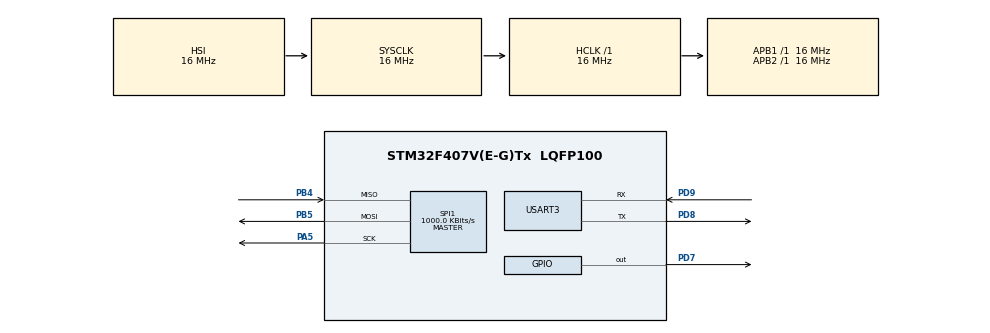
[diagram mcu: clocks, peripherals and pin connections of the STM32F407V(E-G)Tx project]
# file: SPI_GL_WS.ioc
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Mcu.Family=STM32F4
Mcu.Name=STM32F407V(E-G)Tx
Mcu.Package=LQFP100
NVIC.PriorityGroup=NVIC_PRIORITYGROUP_4
NVIC.SPI1_IRQn=true\:0\:0\:false\:false\:true\:true\:true
NVIC.USART3_IRQn=true\:0\:0\:false\:false\:true\:true\:true
PA5.Mode=Full_Duplex_Master
PA5.Signal=SPI1_SCK
PB4.Mode=Full_Duplex_Master
PB4.Signal=SPI1_MISO
PB5.Mode=Full_Duplex_Master
PB5.Signal=SPI1_MOSI
PD7.Signal=GPIO_Output
PD8.Mode=Asynchronous
PD8.Signal=USART3_TX
PD9.Mode=Asynchronous
PD9.Signal=USART3_RX
ProjectManager.HeapSize=0x200
ProjectManager.StackSize=0x400
ProjectManager.TargetToolchain=STM32CubeIDE
RCC.AHBFreq_Value=16000000
RCC.APB1Freq_Value=16000000
RCC.APB2Freq_Value=16000000
RCC.CortexFreq_Value=16000000
RCC.HSE_VALUE=25000000
RCC.HSI_VALUE=16000000
RCC.LSE_VALUE=32768
RCC.SYSCLKFreq_VALUE=16000000
RCC.VCOOutputFreq_Value=192000000
SPI1.BaudRatePrescaler=SPI_BAUDRATEPRESCALER_16
SPI1.CalculateBaudRate=1000.0 KBits/s
SPI1.DataSize=SPI_DATASIZE_8BIT
SPI1.Direction=SPI_DIRECTION_2LINES
SPI1.Mode=SPI_MODE_MASTER
SPI1.VirtualType=VM_MASTER
USART3.VirtualMode=VM_ASYNC
board=custom

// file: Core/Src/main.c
/* USER CODE BEGIN Header */
/**
  ******************************************************************************
  * @file           : main.c
  * @brief          : Main program body
  ******************************************************************************
  * @attention
  *
  * <h2><center>&copy; Copyright (c) 2023 STMicroelectronics.
  * All rights reserved.</center></h2>
  *
  * This software component is licensed by ST under BSD 3-Clause license,
  * the "License"; You may not use this file except in compliance with the
  * License. You may obtain a copy of the License at:
  *                        opensource.org/licenses/BSD-3-Clause
  *
  ******************************************************************************
  */
/* USER CODE END Header */
#include "main.h"

/* USER CODE BEGIN PD */
#define MEM_SIZE 129330
#define PAGE_SIZE 256 // розмір сторінки пам'яті SST25VF016B (256 байт)

/* USER CODE END PD */

SPI_HandleTypeDef hspi1;

UART_HandleTypeDef huart3;

void SystemClock_Config(void);
static void MX_GPIO_Init(void);
static void MX_SPI1_Init(void);
static void MX_USART3_UART_Init(void);

/* USER CODE BEGIN 0 */
uint8_t FlagData = 2;
uint8_t DataTimeCapsule[10000] = {0};
/* USER CODE END 0 */

int main(void)
{

  /* MCU Configuration--------------------------------------------------------*/

  /* Reset of all peripherals, Initializes the Flash interface and the Systick. */
  HAL_Init();

  /* Configure the system clock */
  SystemClock_Config();

  /* Initialize all configured peripherals */
  MX_GPIO_Init();
  MX_SPI1_Init();
  MX_USART3_UART_Init();

  /* Infinite loop */
  /* USER CODE BEGIN WHILE */
  //pin CS init///
  HAL_GPIO_WritePin(GPIOD, GPIO_PIN_7, SET);
  HAL_Delay(100);

////Comunication array///
  uint8_t TransmitArray[20] = {0};
  uint8_t ReceiveArray[20] = {0};

  ///Read-ID prepare///
  TransmitArray[0] = 0x90;
  TransmitArray[1] = 0x00;
  TransmitArray[2] = 0x00;
  TransmitArray[3] = 0x00;
HAL_Delay(1000);
  while (1)
  {

	  if(FlagData == 0){
		  ///Read-ID prepare///
		    TransmitArray[0] = 0x90;
		    TransmitArray[1] = 0x00;
		    TransmitArray[2] = 0x00;
		    TransmitArray[3] = 0x00;

			  //CS low
			  HAL_GPIO_WritePin(GPIOD, GPIO_PIN_7, RESET);

			  // SPI data
			  HAL_SPI_TransmitReceive(&hspi1, TransmitArray, ReceiveArray, 8, 100);

			  //CS high
			  HAL_GPIO_WritePin(GPIOD, GPIO_PIN_7, SET);

			  //FlagData = 1;
			  HAL_Delay(1000);

	  }

	  if(FlagData == 1){
		  ///Read-Data prepare///
			TransmitArray[0] = 0x03;
			TransmitArray[1] = 0x00;
			TransmitArray[2] = 0x00;
			TransmitArray[3] = 0x00;

			//CS low
			  HAL_GPIO_WritePin(GPIOD, GPIO_PIN_7, RESET);
			  HAL_Delay(10);

			 // SPI comand send
				  HAL_SPI_Transmit(&hspi1, TransmitArray, 4, 100);
				//SPI data read
				 // HAL_SPI_Receive(&hspi1, &DataTimeCapsule, MEM_SIZE - address, 100);
				HAL_SPI_Receive(&hspi1, &DataTimeCapsule, 10000, 100);

				HAL_UART_Transmit(&huart3, DataTimeCapsule, sizeof(DataTimeCapsule), 1000);
				HAL_UART_Transmit(&huart3, "\r\n", sizeof("\r\n"), 1000);

			  //CS high
			 // HAL_GPIO_WritePin(GPIOD, GPIO_PIN_7, SET);

			//  FlagData = 0;

	  }

	  HAL_Delay(2000);
    /* USER CODE END WHILE */

  }
}

void SystemClock_Config(void)
{
  RCC_OscInitTypeDef RCC_OscInitStruct = {0};
  RCC_ClkInitTypeDef RCC_ClkInitStruct = {0};

  /** Configure the main internal regulator output voltage
  */
  __HAL_RCC_PWR_CLK_ENABLE();
  __HAL_PWR_VOLTAGESCALING_CONFIG(PWR_REGULATOR_VOLTAGE_SCALE1);
  /** Initializes the RCC Oscillators according to the specified parameters
  * in the RCC_OscInitTypeDef structure.
  */
  RCC_OscInitStruct.OscillatorType = RCC_OSCILLATORTYPE_HSI;
  RCC_OscInitStruct.HSIState = RCC_HSI_ON;
  RCC_OscInitStruct.HSICalibrationValue = RCC_HSICALIBRATION_DEFAULT;
  RCC_OscInitStruct.PLL.PLLState = RCC_PLL_NONE;
  if (HAL_RCC_OscConfig(&RCC_OscInitStruct) != HAL_OK)
  {
    Error_Handler();
  }
  /** Initializes the CPU, AHB and APB buses clocks
  */
  RCC_ClkInitStruct.ClockType = RCC_CLOCKTYPE_HCLK|RCC_CLOCKTYPE_SYSCLK
                              |RCC_CLOCKTYPE_PCLK1|RCC_CLOCKTYPE_PCLK2;
  RCC_ClkInitStruct.SYSCLKSource = RCC_SYSCLKSOURCE_HSI;
  RCC_ClkInitStruct.AHBCLKDivider = RCC_SYSCLK_DIV1;
  RCC_ClkInitStruct.APB1CLKDivider = RCC_HCLK_DIV1;
  RCC_ClkInitStruct.APB2CLKDivider = RCC_HCLK_DIV1;

  if (HAL_RCC_ClockConfig(&RCC_ClkInitStruct, FLASH_LATENCY_0) != HAL_OK)
  {
    Error_Handler();
  }
}

static void MX_SPI1_Init(void)
{

  /* SPI1 parameter configuration*/
  hspi1.Instance = SPI1;
  hspi1.Init.Mode = SPI_MODE_MASTER;
  hspi1.Init.Direction = SPI_DIRECTION_2LINES;
  hspi1.Init.DataSize = SPI_DATASIZE_8BIT;
  hspi1.Init.CLKPolarity = SPI_POLARITY_LOW;
  hspi1.Init.CLKPhase = SPI_PHASE_1EDGE;
  hspi1.Init.NSS = SPI_NSS_SOFT;
  hspi1.Init.BaudRatePrescaler = SPI_BAUDRATEPRESCALER_16;
  hspi1.Init.FirstBit = SPI_FIRSTBIT_MSB;
  hspi1.Init.TIMode = SPI_TIMODE_DISABLE;
  hspi1.Init.CRCCalculation = SPI_CRCCALCULATION_DISABLE;
  hspi1.Init.CRCPolynomial = 10;
  if (HAL_SPI_Init(&hspi1) != HAL_OK)
  {
    Error_Handler();
  }

}

static void MX_USART3_UART_Init(void)
{

  huart3.Instance = USART3;
  huart3.Init.BaudRate = 115200;
  huart3.Init.WordLength = UART_WORDLENGTH_8B;
  huart3.Init.StopBits = UART_STOPBITS_1;
  huart3.Init.Parity = UART_PARITY_NONE;
  huart3.Init.Mode = UART_MODE_TX_RX;
  huart3.Init.HwFlowCtl = UART_HWCONTROL_NONE;
  huart3.Init.OverSampling = UART_OVERSAMPLING_16;
  if (HAL_UART_Init(&huart3) != HAL_OK)
  {
    Error_Handler();
  }

}

static void MX_GPIO_Init(void)
{
  GPIO_InitTypeDef GPIO_InitStruct = {0};

  /* GPIO Ports Clock Enable */
  __HAL_RCC_GPIOA_CLK_ENABLE();
  __HAL_RCC_GPIOD_CLK_ENABLE();
  __HAL_RCC_GPIOB_CLK_ENABLE();

  /*Configure GPIO pin Output Level */
  HAL_GPIO_WritePin(GPIOD, GPIO_PIN_7, GPIO_PIN_RESET);

  /*Configure GPIO pin : PD7 */
  GPIO_InitStruct.Pin = GPIO_PIN_7;
  GPIO_InitStruct.Mode = GPIO_MODE_OUTPUT_PP;
  GPIO_InitStruct.Pull = GPIO_NOPULL;
  GPIO_InitStruct.Speed = GPIO_SPEED_FREQ_LOW;
  HAL_GPIO_Init(GPIOD, &GPIO_InitStruct);

}

void Error_Handler(void)
{
  __disable_irq();
  while (1)
  {
  }
}

/************************ (C) COPYRIGHT STMicroelectronics *****END OF FILE****/
